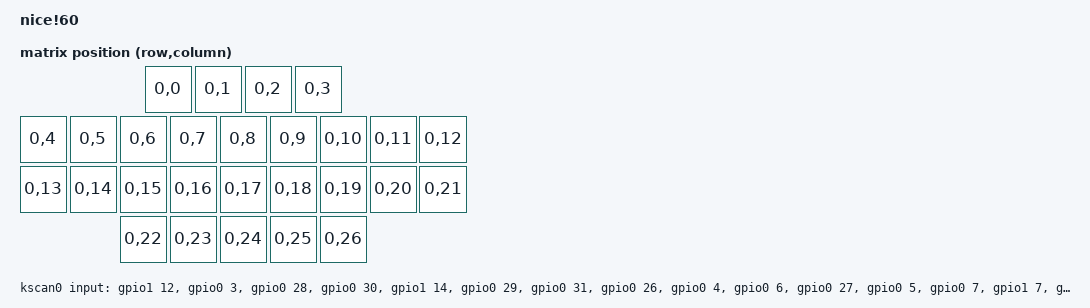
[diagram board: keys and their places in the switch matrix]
/*
 * Copyright (c) 2021 Nick Winans
 *
 * SPDX-License-Identifier: MIT
 */

/dts-v1/;
#include <nordic/nrf52840_qiaa.dtsi>

#include <dt-bindings/led/led.h>
#include <dt-bindings/zmk/matrix_transform.h>

#include <layouts/common/60percent/ansi.dtsi>

#include "steno-pinctrl.dtsi"

/ {
    model = "nice!60";
    compatible = "nice,60";

    chosen {
        zephyr,code-partition = &code_partition;
        zephyr,sram = &sram0;
        zephyr,flash = &flash0;
        zmk,battery = &bq27427;
        zmk,kscan = &kscan0;
        zmk,physical-layout = &layout_60_ansi;
        zephyr,display = &ssd1306;
        // zmk,underglow = &led_strip;
    };

    default_transform: keymap_transform_0 {
        compatible = "zmk,matrix-transform";
        columns = <27>;
        rows = <1>;
        map = <
        RC(0,0)             RC(0,1)         RC(0,2)             RC(0,3) 
RC(0,4)  RC(0,5)  RC(0,6)  RC(0,7)  RC(0,8)  RC(0,9)  RC(0,10)  RC(0,11)  RC(0,12)
RC(0,13)  RC(0,14)  RC(0,15) RC(0,16) RC(0,17) RC(0,18) RC(0,19) RC(0,20) RC(0,21) 
                 RC(0,22) RC(0,23) RC(0,24) RC(0,25) RC(0,26)
        >;
    };

	kscan0: kscan {
		compatible = "zmk,kscan-gpio-direct";
		label = "KSCAN";
		input-gpios
		= <&gpio1 12 (GPIO_ACTIVE_LOW | GPIO_PULL_UP)>
		, <&gpio0 3 (GPIO_ACTIVE_LOW | GPIO_PULL_UP)>
		, <&gpio0 28 (GPIO_ACTIVE_LOW | GPIO_PULL_UP)>
		, <&gpio0 30 (GPIO_ACTIVE_LOW | GPIO_PULL_UP)>
		, <&gpio1 14 (GPIO_ACTIVE_LOW | GPIO_PULL_UP)>
		, <&gpio0 29 (GPIO_ACTIVE_LOW | GPIO_PULL_UP)>
		, <&gpio0 31 (GPIO_ACTIVE_LOW | GPIO_PULL_UP)>
		, <&gpio0 26 (GPIO_ACTIVE_LOW | GPIO_PULL_UP)>
        , <&gpio0 4 (GPIO_ACTIVE_LOW | GPIO_PULL_UP)>
		, <&gpio0 6 (GPIO_ACTIVE_LOW | GPIO_PULL_UP)>
        , <&gpio0 27 (GPIO_ACTIVE_LOW | GPIO_PULL_UP)>
		, <&gpio0 5 (GPIO_ACTIVE_LOW | GPIO_PULL_UP)>
        , <&gpio0 7 (GPIO_ACTIVE_LOW | GPIO_PULL_UP)>
		, <&gpio1 7 (GPIO_ACTIVE_LOW | GPIO_PULL_UP)>
        , <&gpio0 2 (GPIO_ACTIVE_LOW | GPIO_PULL_UP)>
		, <&gpio1 15 (GPIO_ACTIVE_LOW | GPIO_PULL_UP)>
        , <&gpio1 13 (GPIO_ACTIVE_LOW | GPIO_PULL_UP)>
        , <&gpio0 8 (GPIO_ACTIVE_LOW | GPIO_PULL_UP)>
        , <&gpio1 9 (GPIO_ACTIVE_LOW | GPIO_PULL_UP)>
        , <&gpio1 8 (GPIO_ACTIVE_LOW | GPIO_PULL_UP)>
        , <&gpio0 14 (GPIO_ACTIVE_LOW | GPIO_PULL_UP)>
        , <&gpio0 16 (GPIO_ACTIVE_LOW | GPIO_PULL_UP)>
        , <&gpio0 24 (GPIO_ACTIVE_LOW | GPIO_PULL_UP)>
        , <&gpio0 20 (GPIO_ACTIVE_LOW | GPIO_PULL_UP)>
        , <&gpio0 17 (GPIO_ACTIVE_LOW | GPIO_PULL_UP)>
        , <&gpio0 15 (GPIO_ACTIVE_LOW | GPIO_PULL_UP)>
        , <&gpio0 13 (GPIO_ACTIVE_LOW | GPIO_PULL_UP)>
		;
	};

    leds {
        compatible = "gpio-leds";
        blue_led: led_0 {
            gpios = <&gpio0 26 GPIO_ACTIVE_HIGH>;
        };
    };

    // Node name must match original "EXT_POWER" label to preserve user settings.
    // EXT_POWER {
    //     compatible = "zmk,ext-power-generic";
    //     control-gpios = <&gpio0 5 GPIO_ACTIVE_LOW>;
    // };

  
};

&i2c0 {

	status = "okay";

	clock-frequency = <I2C_BITRATE_STANDARD>;
	pinctrl-0 = <&i2c0_default>;
	pinctrl-1 = <&i2c0_sleep>;
	pinctrl-names = "default", "sleep";
	
	bq27427: bq27427@55 {
		compatible = "ti,bq274xx";
		reg = <0x55>;
		design-voltage = <3700>;
		design-capacity = <400>;
		taper-current = <90>;
		terminate-voltage = <3000>;
		// int-gpios = <&gpio0 5 GPIO_ACTIVE_LOW>;
		status = "okay";

	};

 ssd1306: ssd1306@3c {
    compatible = "solomon,ssd1306fb-i2c";
    reg = <0x3c>;
    label = "SSD1306";
    width = <128>;
    height = <64>;
    segment-offset = <0>;
    page-offset = <0>;
    display-offset = <0>;
    multiplex-ratio = <63>;
    precharge-period = <0x1F>;
    com-invert = <0>;
    com-pin-config = <0x12>;
    contrast = <0x7F>;
    i2c-max-frequency = <400000>;
    status = "okay";
};


};

&adc {
    status = "okay";
};

&gpiote {
    status = "okay";
};

&gpio0 {
    status = "okay";
};

&gpio1 {
    status = "okay";
};

&spi3 {
    compatible = "nordic,nrf-spim";

    pinctrl-0 = <&spi3_default>;
    pinctrl-1 = <&spi3_sleep>;
    pinctrl-names = "default", "sleep";
    status = "okay";

    // led_strip: ws2812@0 {
    //     compatible = "worldsemi,ws2812-spi";

    //     /* SPI */
    //     reg = <0>; /* ignored, but necessary for SPI bindings */
    //     spi-max-frequency = <4000000>;

    //     /* WS2812 */
    //     chain-length = <12>; /* LED strip length */
    //     spi-one-frame = <0x70>;
    //     spi-zero-frame = <0x40>;
    //     color-mapping = <LED_COLOR_ID_GREEN LED_COLOR_ID_RED LED_COLOR_ID_BLUE>;
    // };
};

zephyr_udc0: &usbd {
    status = "okay";
};

&flash0 {
    /*
     * For more information, see:
     * http://docs.zephyrproject.org/latest/devices/dts/flash_partitions.html
     */
    partitions {
        compatible = "fixed-partitions";
        #address-cells = <1>;
        #size-cells = <1>;

        sd_partition: partition@0 {
            reg = <0x00000000 0x00001000>;
        };

        code_partition: partition@1000 {
            reg = <0x00001000 0x000d3000>;
        };

        /*
         * The flash starting at 0x000d4000 and ending at
         * 0x000f3fff is reserved for use by the application.
         */

        /*
         * Storage partition will be used by FCB/LittleFS/NVS
         * if enabled.
         */
        storage_partition: partition@d4000 {
            reg = <0x000d4000 0x00020000>;
        };

        boot_partition: partition@f4000 {
            reg = <0x000f4000 0x0000c000>;
        };
    };
};

&layout_60_ansi {
    transform = <&default_transform>;
};
